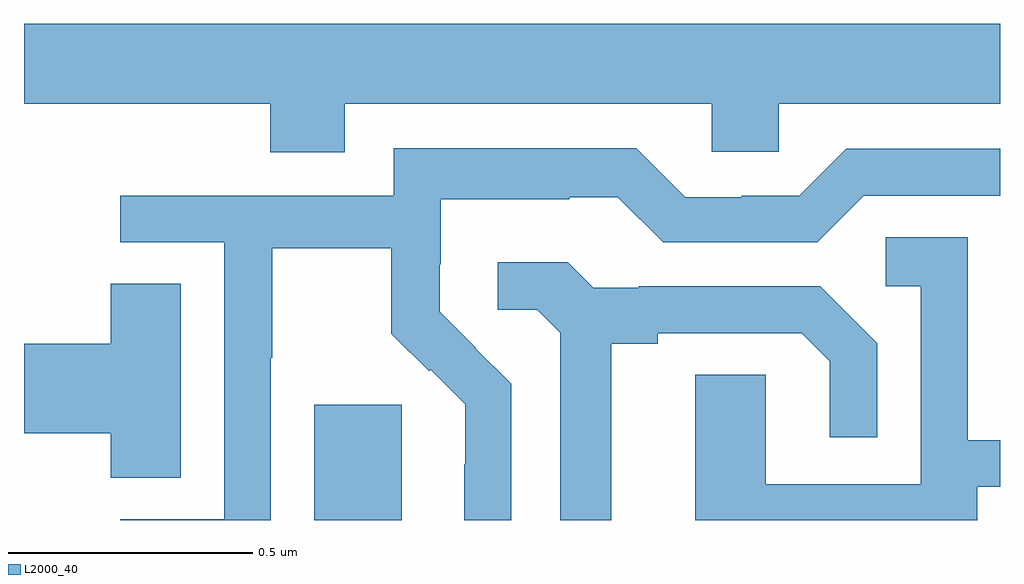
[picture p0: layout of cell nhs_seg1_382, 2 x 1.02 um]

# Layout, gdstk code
import gdstk
lib = gdstk.Library(unit=1e-6, precision=1e-09)
def R(c, l, rs):  # rectangles x0, y0, x1, y1
    for r in rs: c.add(gdstk.rectangle(r[:2], r[2:], *l))
def P(c, l, *ps):  # polygons
    for p in ps: c.add(gdstk.Polygon(p, *l))
L2000_40 = (2000, 40)

nhs_seg1_382 = lib.new_cell('nhs_seg1_382')
R(nhs_seg1_382, L2000_40, [(115.595,564.199,115.774,564.435)])
P(nhs_seg1_382, L2000_40, [(115.657,565.052),(116.409,565.052),(116.409,564.954),(116.547,564.954),(116.547,565.052),(117,565.052),(117,565.216),(115,565.216),(115,565.052),(115.505,565.052),(115.505,564.953),(115.657,564.953)],
  [(115.506,564.532),(115.509,564.532),(115.509,564.756),(115.753,564.756),(115.753,564.581),(115.83,564.504),(115.833,564.507),(115.904,564.437),(115.904,564.314),(115.902,564.314),(115.902,564.199),(115.998,564.199),(115.998,564.478),(115.925,564.551),(115.926,564.552),(115.852,564.626),(115.852,564.723),(115.854,564.723),(115.854,564.857),(116.117,564.857),(116.117,564.861),(116.217,564.861),(116.31,564.768),(116.625,564.768),(116.721,564.864),(117,564.864),(117,564.96),(116.685,564.96),(116.589,564.864),(116.471,564.864),(116.471,564.861),(116.355,564.861),(116.255,564.961),(115.758,564.961),(115.758,564.864),(115.197,564.864),(115.197,564.768),(115.41,564.768),(115.41,564.201),(115.197,564.201),(115.197,564.199),(115.506,564.199)],
  [(116.953,564.267),(117,564.267),(117,564.363),(116.934,564.363),(116.934,564.779),(116.766,564.779),(116.766,564.678),(116.838,564.678),(116.838,564.273),(116.52,564.273),(116.52,564.497),(116.375,564.497),(116.375,564.199),(116.953,564.199)],
  [(116.203,564.56),(116.299,564.56),(116.299,564.582),(116.594,564.582),(116.651,564.525),(116.651,564.369),(116.748,564.369),(116.748,564.562),(116.632,564.678),(116.26,564.678),(116.26,564.675),(116.166,564.675),(116.114,564.727),(115.971,564.727),(115.971,564.63),(116.052,564.63),(116.099,564.583),(116.099,564.199),(116.203,564.199)],
  [(115.321,564.683),(115.178,564.683),(115.178,564.56),(115,564.56),(115,564.377),(115.178,564.377),(115.178,564.286),(115.321,564.286)])

lib.write_gds('nhs_seg1_382.gds')
